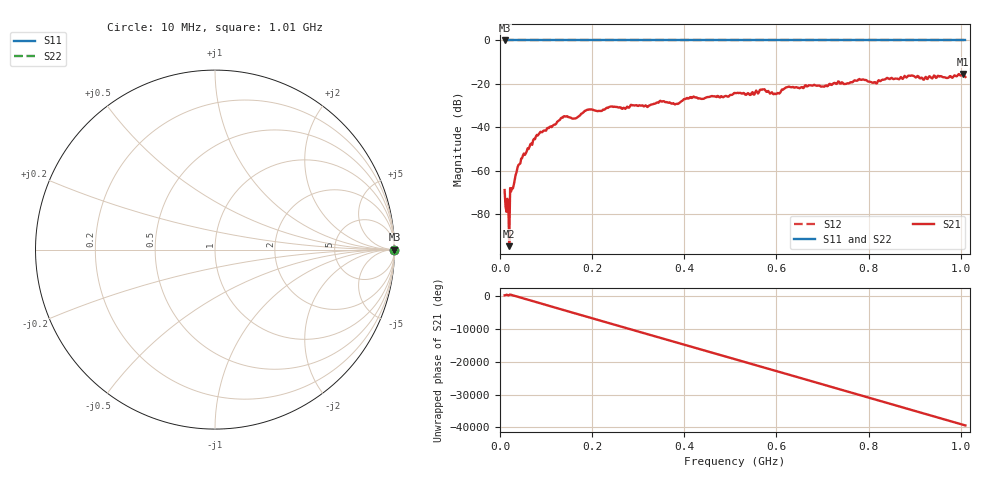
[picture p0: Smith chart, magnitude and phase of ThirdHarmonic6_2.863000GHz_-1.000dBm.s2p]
! 8/17/2025 7:48:11 AM
! C:\ANRITSUVNA\TEMP\TEMP.S2P
! CHANNEL.1
! TR.MEASUREMENT
! RAW.DATA
! RF.CORRECTION.OFF
! AVERAGING.OFF
! IF.BANDWIDTH: 5KHZ
! SWEEPTYPE:  FREQ.SWEEP(Linear)
! Reference Plane Port Info
! PORT:  PORT1  PORT2
! DISTANCE:  0  m  0  m
! TIME:  0  s  0  s
! PHASE.OFFSET:  0  deg.  0  deg.
! LOSS:  0  dB  0  dB
! REF.LOSS:  0  dB  0  dB
! REF.FREQ:  0  Hz  0  Hz
! Power Info
! POWER:  -20  dBm  -20  dBm
! EFF.POWER:  -20  dBm  -20  dBm
! SOURCE.ATTEN:  0  dB  0  dB
! TEST.ATTEN:  0  dB  0  dB
# GHZ S RI R 50.0
! FREQ.GHZ  S11RE  S11IM  S21RE  S21IM  S12RE  S12IM  S22RE  S22IM
!; PortSelection: Port_12
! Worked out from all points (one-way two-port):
!   501 points, 10 MHz to 1.01 GHz, reference 50 ohm
!   highest |S21| = -15.42 dB at 1.004 GHz (marker M1); lowest = -94.8 dB at 20 MHz (marker M2)
!   lowest |S11| = 0.0 dB at 10 MHz (marker M3)
!   |S11| at or under -10 dB: nowhere
!   |S22| runs from 0.0 to 0.0 dB; largest |S21 - S12| = 1.2
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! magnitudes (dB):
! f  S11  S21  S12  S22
! 10 MHz  0.0  -69.0  0.0  0.0
! 16 MHz  0.0  -73.0  0.0  0.0
! 20 MHz  0.0  -94.8  0.0  0.0
! 42 MHz  0.0  -57.1  0.0  0.0
! 76 MHz  0.0  -45.5  0.0  0.0
! 136 MHz  0.0  -35.6  0.0  0.0
! 162 MHz  0.0  -35.9  0.0  0.0
! 178 MHz  0.0  -33.6  0.0  0.0
! 344 MHz  0.0  -28.7  0.0  0.0
! 384 MHz  0.0  -29.2  0.0  0.0
! 416 MHz  0.0  -26.5  0.0  0.0
! 510 MHz  0.0  -24.2  0.0  0.0
! 548 MHz  0.0  -23.8  0.0  0.0
! 570 MHz  0.0  -22.6  0.0  0.0
! 596 MHz  0.0  -24.5  0.0  0.0
! 624 MHz  0.0  -21.5  0.0  0.0
! 678 MHz  0.0  -20.8  0.0  0.0
! 782 MHz  0.0  -18.1  0.0  0.0
! 814 MHz  0.0  -19.2  0.0  0.0
! 844 MHz  0.0  -17.7  0.0  0.0
! 1.004 GHz  0.0  -15.4  0.0  0.0
! 1.01 GHz  0.0  -16.8  0.0  0.0
